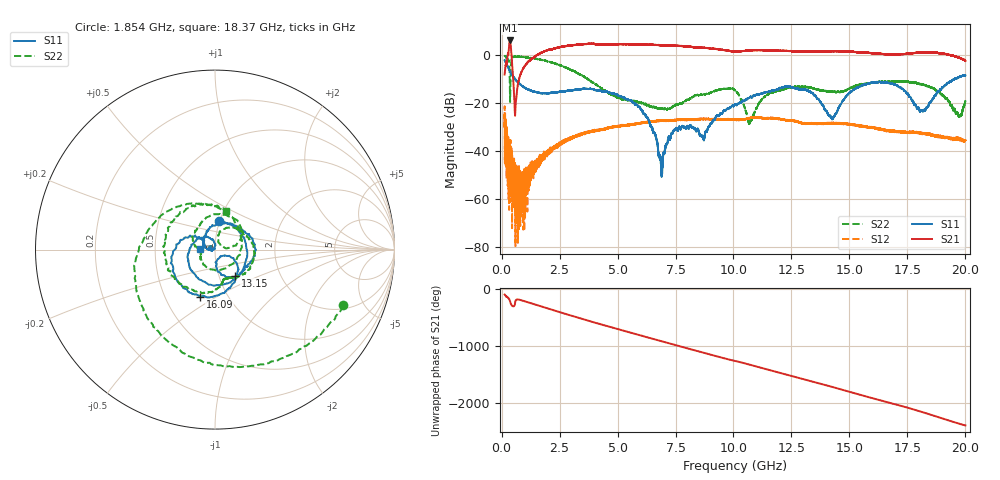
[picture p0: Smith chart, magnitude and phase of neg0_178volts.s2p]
!Created with skrf (http://scikit-rf.org).
# GHz S RI R 50.0
!freq ReS11 ImS11 ReS21 ImS21 ReS12 ImS12 ReS22 ImS22
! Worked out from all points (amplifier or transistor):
!   20013 points, 130 MHz to 20 GHz, reference 50 ohm
!   highest |S21| = 6.2 dB at 356 MHz (marker M1)
!   |S21| within 3 dB of that: 2.465 GHz to 8.36 GHz (5.895 GHz wide, 109 % of centre)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
!   unconditionally stable (mu >= 1): 141.7 MHz to 148.2 MHz; 170.4 MHz to 188.7 MHz; 189.3 MHz to end of sweep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
!   at 3.465 GHz: K = 11.29, MAG = 5.4 dB, |S12| = -33.3 dB
!   at 10.14 GHz: K = 9.10, MAG = 1.7 dB, |S12| = -27.0 dB
!   at 20 GHz: K = 32.09, MAG = -1.5 dB, |S12| = -35.3 dB
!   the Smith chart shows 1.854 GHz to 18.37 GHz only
!   S11 on the Smith chart (normalised r, x): 1.854 GHz: 0.99, +0.33; 13.15 GHz: 1.20, -0.36; 16.09 GHz: 0.75, -0.42; 18.37 GHz: 0.84, +0.00
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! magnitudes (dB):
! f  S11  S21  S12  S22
! 130 MHz  -2.0  -8.0  -25.0  -0.2
! 356 MHz  -6.4  6.2  -39.3  -13.2
! 611 MHz  -10.3  -19.6  -49.7  -0.5
! 976 MHz  -13.3  -4.8  -52.7  -0.7
! 1.854 GHz  -15.8  1.7  -41.2  -2.2
! 3.442 GHz  -14.1  4.6  -33.2  -8.3
! 5.889 GHz  -21.4  4.5  -28.5  -19.5
! 6.754 GHz  -39.8  4.4  -27.3  -22.2
! 6.896 GHz  -48.2  4.3  -27.4  -22.3
! 7.469 GHz  -31.2  4.0  -27.0  -21.0
! 8.674 GHz  -34.0  3.2  -26.7  -16.3
! 10.06 GHz  -20.4  1.6  -26.8  -14.6
! 10.71 GHz  -17.4  2.1  -26.2  -27.9
! 11.49 GHz  -15.2  2.1  -26.2  -16.4
! 13.15 GHz  -14.7  1.5  -28.2  -13.3
! 13.38 GHz  -15.6  1.6  -28.4  -13.6
! 14.27 GHz  -26.3  1.7  -28.3  -15.3
! 16.09 GHz  -11.2  0.9  -30.5  -11.2
! 16.69 GHz  -11.6  0.5  -31.7  -11.1
! 18.37 GHz  -21.5  1.2  -33.2  -13.0
! 19.74 GHz  -8.9  -1.0  -34.9  -25.3
! 20 GHz  -8.3  -2.3  -35.3  -19.1
